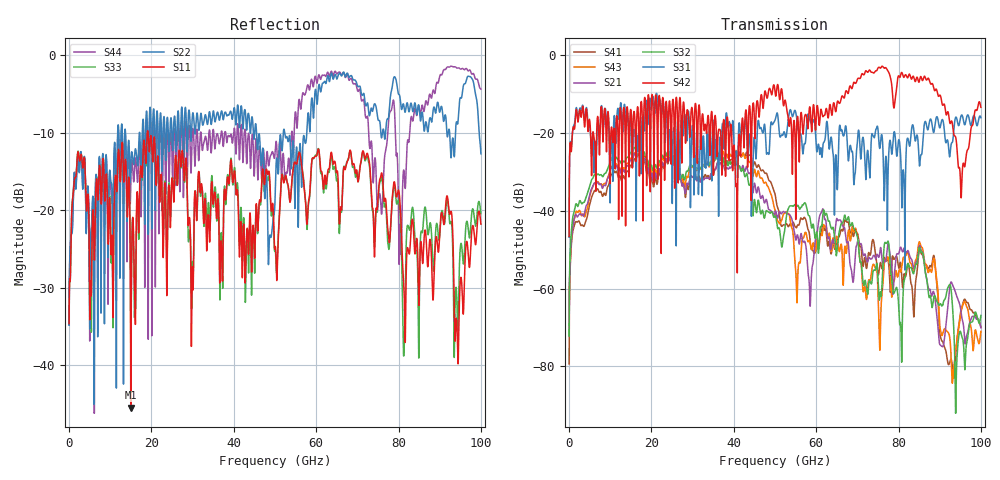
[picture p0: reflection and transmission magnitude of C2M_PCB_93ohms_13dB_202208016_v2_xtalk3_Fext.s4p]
! Info: Touchstone file created by Circ.  Input file=Intel_C2M_200G_3p0in_202208016_staggered.circ
# Hz S RI R 50
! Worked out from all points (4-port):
!   10000 points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, 10 MHz to 100 GHz, reference 50 ohm
!   strongest paths, dB at 10 MHz, 25.01 GHz, 50.01 GHz, 75.01 GHz, 100 GHz:
!     S42: -46.6, -14.2, -9.3, -3.2, -13.3
!     S31: -46.7, -30.7, -16.6, -19.0, -16.0
!     S32: -72.2, -25.5, -41.3, -57.2, -66.9
!     S21: -67.7, -27.4, -40.3, -51.6, -70.1
!     S43: -69.5, -25.5, -39.7, -60.7, -71.0
!     S41: -79.3, -27.2, -35.6, -56.3, -69.8
!   lowest |S11| = -45.5 dB at 14.98 GHz (marker M1), VSWR 1.01, Z = 49.6 - j0.353 ohm
!   |S11| at or under -10 dB: start of sweep to 18.99 GHz; 19.17 GHz to end of sweep
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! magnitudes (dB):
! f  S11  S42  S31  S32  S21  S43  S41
! 10 MHz  -34.6  -46.6  -46.7  -72.2  -67.7  -69.5  -79.3
! 1.36 GHz  -15.9  -18.7  -17.3  -39.4  -41.5  -41.8  -43.4
! 14.98 GHz  -45.5  -13.9  -14.8  -25.0  -26.9  -26.4  -28.3
! 71.52 GHz  -12.5  -5.0  -21.8  -59.1  -51.4  -60.7  -53.6
! 81.18 GHz  -28.7  -5.5  -29.7  -59.9  -50.2  -51.9  -57.6
! 95.02 GHz  -29.1  -31.8  -16.2  -71.0  -64.8  -67.0  -66.3
! 100 GHz  -21.8  -13.3  -16.0  -66.9  -70.1  -71.0  -69.8
